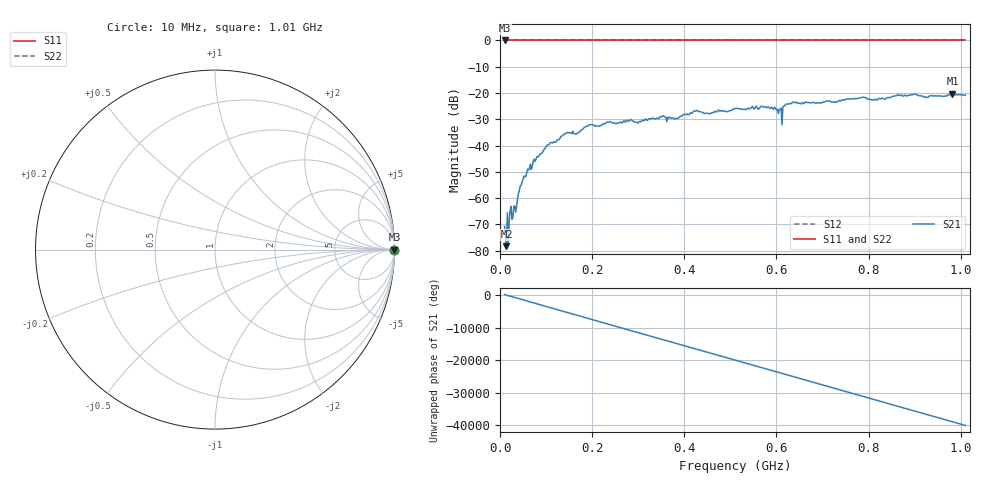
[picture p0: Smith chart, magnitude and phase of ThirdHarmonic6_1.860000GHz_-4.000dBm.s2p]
! 8/16/2025 10:29:31 PM
! C:\ANRITSUVNA\TEMP\TEMP.S2P
! CHANNEL.1
! TR.MEASUREMENT
! RAW.DATA
! RF.CORRECTION.OFF
! AVERAGING.OFF
! IF.BANDWIDTH: 5KHZ
! SWEEPTYPE:  FREQ.SWEEP(Linear)
! Reference Plane Port Info
! PORT:  PORT1  PORT2
! DISTANCE:  0  m  0  m
! TIME:  0  s  0  s
! PHASE.OFFSET:  0  deg.  0  deg.
! LOSS:  0  dB  0  dB
! REF.LOSS:  0  dB  0  dB
! REF.FREQ:  0  Hz  0  Hz
! Power Info
! POWER:  -20  dBm  -20  dBm
! EFF.POWER:  -20  dBm  -20  dBm
! SOURCE.ATTEN:  0  dB  0  dB
! TEST.ATTEN:  0  dB  0  dB
# GHZ S RI R 50.0
! FREQ.GHZ  S11RE  S11IM  S21RE  S21IM  S12RE  S12IM  S22RE  S22IM
!; PortSelection: Port_12
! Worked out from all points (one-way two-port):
!   501 points, 10 MHz to 1.01 GHz, reference 50 ohm
!   highest |S21| = -20.21 dB at 982 MHz (marker M1); lowest = -78.3 dB at 14 MHz (marker M2)
!   lowest |S11| = 0.0 dB at 10 MHz (marker M3)
!   |S11| at or under -10 dB: nowhere
!   |S22| runs from 0.0 to 0.0 dB; largest |S21 - S12| = 1.1
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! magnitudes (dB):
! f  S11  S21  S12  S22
! 10 MHz  0.0  -70.8  0.0  0.0
! 12 MHz  0.0  -74.2  0.0  0.0
! 14 MHz  0.0  -78.3  0.0  0.0
! 16 MHz  0.0  -65.6  0.0  0.0
! 20 MHz  0.0  -68.5  0.0  0.0
! 32 MHz  0.0  -63.0  0.0  0.0
! 48 MHz  0.0  -53.7  0.0  0.0
! 76 MHz  0.0  -46.1  0.0  0.0
! 106 MHz  0.0  -39.7  0.0  0.0
! 136 MHz  0.0  -36.2  0.0  0.0
! 178 MHz  0.0  -33.9  0.0  0.0
! 196 MHz  0.0  -32.1  0.0  0.0
! 344 MHz  0.0  -29.8  0.0  0.0
! 382 MHz  0.0  -29.7  0.0  0.0
! 510 MHz  0.0  -26.0  0.0  0.0
! 572 MHz  0.0  -25.3  0.0  0.0
! 608 MHz  0.0  -26.3  0.0  0.0
! 624 MHz  0.0  -24.2  0.0  0.0
! 678 MHz  0.0  -23.7  0.0  0.0
! 844 MHz  0.0  -21.7  0.0  0.0
! 982 MHz  0.0  -20.2  0.0  0.0
! 1.01 GHz  0.0  -20.7  0.0  0.0
